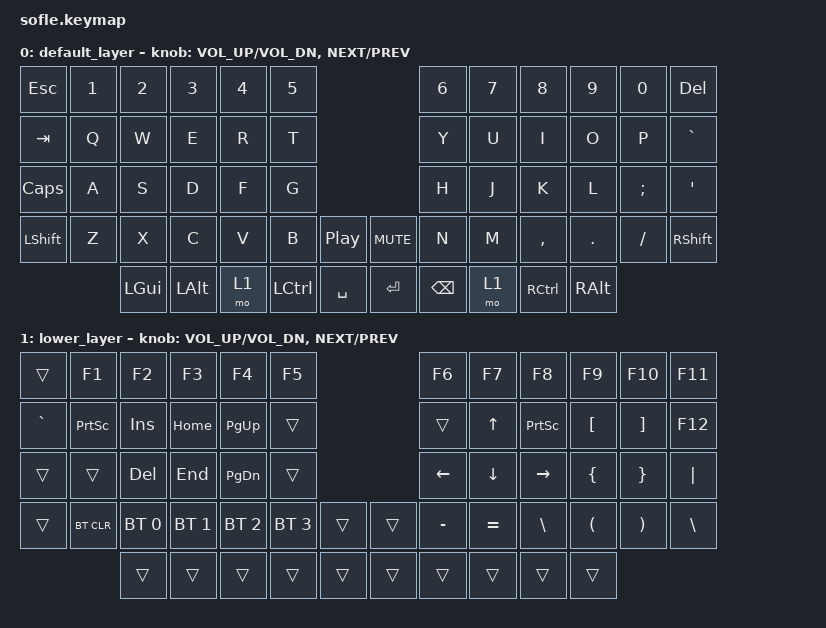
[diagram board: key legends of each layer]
/*
 * Copyright (c) 2020 The ZMK Contributors
 *
 * SPDX-License-Identifier: MIT
 */

#include <behaviors.dtsi>
#include <dt-bindings/zmk/keys.h>
#include <dt-bindings/zmk/bt.h>

&left_encoder { resolution = <3>; };
&right_encoder { resolution = <3>; };

/ {
    keymap {
        compatible = "zmk,keymap";

        default_layer {
// ------------------------------------------------------------------------------------------------------------
// |  ESC  |  1  |  2  |  3   |  4   |  5   |                   |  6   |  7    |  8    |  9   |   0   | DEL   |
// |  TAB  |  Q  |  W  |  E   |  R   |  T   |                   |  Y   |  U    |  I    |  O   |   P   |   `   |
// |  CAPS |  A  |  S  |  D   |  F   |  G   |                   |  H   |  J    |  K    |  L   |   ;   |   '   |
// | SHIFT |  Z  |  X  |  C   |  V   |  B   |  PLAY  |  | MUTE  |  N   |  M    |  ,    |  .   |   /   | SHIFT |
//               | GUI | ALT  | LOWER| CTRL | SPACE  |  | ENTER | BKSPC| BSPC  | LOWER | ALT  |
            bindings = <
&kp ESC    &kp N1 &kp N2   &kp N3   &kp N4    &kp N5                      &kp N6   &kp N7    &kp N8    &kp N9   &kp N0   &kp DEL
&kp TAB    &kp Q  &kp W    &kp E    &kp R     &kp T                       &kp Y    &kp U     &kp I     &kp O    &kp P    &kp GRAVE
&kp CAPS   &kp A  &kp S    &kp D    &kp F     &kp G                       &kp H    &kp J     &kp K     &kp L    &kp SEMI &kp SQT
&kp LSHIFT &kp Z  &kp X    &kp C    &kp V     &kp B  &kp C_PP &kp C_MUTE  &kp N    &kp M     &kp COMMA &kp DOT  &kp FSLH &kp RSHFT
                 &kp LGUI &kp LALT &mo 1  &kp LCTRL &kp SPACE    &kp RET  &kp BSPC &mo 1  &kp RCTRL &kp RALT
            >;

            sensor-bindings = <&inc_dec_kp C_VOL_UP C_VOL_DN &inc_dec_kp C_NEXT C_PREV>;
        };

        lower_layer {
// TODO: Some binds are waiting for shifted keycode support.
// ------------------------------------------------------------------------------------------------------------
// |       |  F1  |  F2 |  F3  |  F4  |  F5  |                   |  F6  |  F7   |  F8   |  F9  |  F10  |  F11  |
// |   `   |PRTSCR| INS | HOME | PGUP |      |                   |      |   ^   |PRTSCR |  [   |    ]  |  F12  |
// |       |      | DEL |  END | PGDN |      |                   | <    |   v   |    >  |  {   |    }  |   |   |
// |       |BTCLR | BT1 | BT2  |  BT3 |  BT4 |  PLAY  |  |  MUTE |  -   |   =   |   \   |  (   |    )  |   \   |
//                |     |      |      |      | SPACE  |  | ENTER |      |       |       |      |
            bindings = <
&trans     &kp F1       &kp F2       &kp F3       &kp F4       &kp F5                         &kp F6    &kp F7    &kp F8    &kp F9    &kp F10   &kp F11
&kp GRAVE  &kp PSCRN    &kp INS      &kp HOME     &kp PG_UP    &trans                         &trans    &kp UP    &kp PSCRN &kp LBKT  &kp RBKT  &kp F12
&trans     &trans       &kp DEL      &kp END      &kp PG_DN    &trans                         &kp LEFT  &kp DOWN  &kp RIGHT &kp LBRC  &kp RBRC  &kp PIPE
&trans     &bt BT_CLR   &bt BT_SEL 0 &bt BT_SEL 1 &bt BT_SEL 2 &bt BT_SEL 3   &trans   &trans &kp MINUS &kp EQUAL &kp BSLH  &kp LPAR  &kp RPAR  &kp BSLH
           &trans       &trans       &trans       &trans       &trans                         &trans    &trans    &trans    &trans  &trans
            >;

            sensor-bindings = <&inc_dec_kp C_VOL_UP C_VOL_DN &inc_dec_kp C_NEXT C_PREV>;
        };
    };
};
